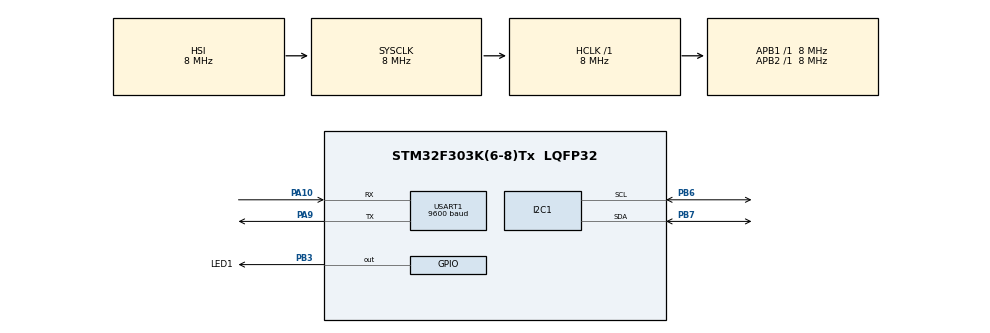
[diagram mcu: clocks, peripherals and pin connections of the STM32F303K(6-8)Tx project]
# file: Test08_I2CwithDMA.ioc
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Dma.I2C1_RX.1.Direction=DMA_PERIPH_TO_MEMORY
Dma.I2C1_RX.1.Instance=DMA1_Channel3
Dma.I2C1_RX.1.MemDataAlignment=DMA_MDATAALIGN_BYTE
Dma.I2C1_RX.1.MemInc=DMA_MINC_ENABLE
Dma.I2C1_RX.1.Mode=DMA_CIRCULAR
Dma.I2C1_RX.1.PeriphDataAlignment=DMA_PDATAALIGN_BYTE
Dma.I2C1_RX.1.PeriphInc=DMA_PINC_DISABLE
Dma.I2C1_RX.1.Priority=DMA_PRIORITY_LOW
Dma.Request0=USART1_RX
Dma.Request1=I2C1_RX
Dma.Request2=USART1_TX
Dma.USART1_RX.0.Direction=DMA_PERIPH_TO_MEMORY
Dma.USART1_RX.0.Instance=DMA1_Channel5
Dma.USART1_RX.0.MemDataAlignment=DMA_MDATAALIGN_BYTE
Dma.USART1_RX.0.MemInc=DMA_MINC_ENABLE
Dma.USART1_RX.0.Mode=DMA_NORMAL
Dma.USART1_RX.0.PeriphDataAlignment=DMA_PDATAALIGN_BYTE
Dma.USART1_RX.0.PeriphInc=DMA_PINC_DISABLE
Dma.USART1_RX.0.Priority=DMA_PRIORITY_LOW
Dma.USART1_TX.2.Direction=DMA_MEMORY_TO_PERIPH
Dma.USART1_TX.2.Instance=DMA1_Channel4
Dma.USART1_TX.2.MemDataAlignment=DMA_MDATAALIGN_BYTE
Dma.USART1_TX.2.MemInc=DMA_MINC_ENABLE
Dma.USART1_TX.2.Mode=DMA_CIRCULAR
Dma.USART1_TX.2.PeriphDataAlignment=DMA_PDATAALIGN_BYTE
Dma.USART1_TX.2.PeriphInc=DMA_PINC_DISABLE
Dma.USART1_TX.2.Priority=DMA_PRIORITY_LOW
I2C1.Timing=0x2000090E
Mcu.Family=STM32F3
Mcu.Name=STM32F303K(6-8)Tx
Mcu.Package=LQFP32
NVIC.DMA1_Channel3_IRQn=true\:0\:0\:false\:false\:true
NVIC.DMA1_Channel4_IRQn=true\:0\:0\:false\:true\:true\:2
NVIC.DMA1_Channel5_IRQn=true\:0\:0\:false\:true\:true\:1
NVIC.I2C1_ER_IRQn=true\:0\:0\:false\:true\:true\:4
NVIC.I2C1_EV_IRQn=true\:0\:0\:false\:true\:true\:3
NVIC.PriorityGroup=NVIC_PRIORITYGROUP_4
PA10.Mode=Asynchronous
PA10.Signal=USART1_RX
PA9.Mode=Asynchronous
PA9.Signal=USART1_TX
PB3.GPIO_Label=LED1
PB3.Signal=GPIO_Output
PB6.Mode=I2C
PB6.Signal=I2C1_SCL
PB7.Mode=I2C
PB7.Signal=I2C1_SDA
ProjectManager.HeapSize=0x200
ProjectManager.StackSize=0x400
ProjectManager.TargetToolchain=SW4STM32
RCC.AHBFreq_Value=8000000
RCC.APB1Freq_Value=8000000
RCC.APB2Freq_Value=8000000
RCC.CortexFreq_Value=8000000
RCC.HSE_VALUE=8000000
RCC.HSI_VALUE=8000000
RCC.SYSCLKFreq_VALUE=8000000
USART1.BaudRate=9600
USART1.WordLength=UART_WORDLENGTH_8B
board=Test08_I2CwithDMA

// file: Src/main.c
/**
  ******************************************************************************
  * File Name          : main.c
  * Description        : Main program body
  ******************************************************************************
  *
  * COPYRIGHT(c) 2017 STMicroelectronics
  *
  * Redistribution and use in source and binary forms, with or without modification,
  * are permitted provided that the following conditions are met:
  *   1. Redistributions of source code must retain the above copyright notice,
  *      this list of conditions and the following disclaimer.
  *   2. Redistributions in binary form must reproduce the above copyright notice,
  *      this list of conditions and the following disclaimer in the documentation
  *      and/or other materials provided with the distribution.
  *   3. Neither the name of STMicroelectronics nor the names of its contributors
  *      may be used to endorse or promote products derived from this software
  *      without specific prior written permission.
  *
  * THIS SOFTWARE IS PROVIDED BY THE COPYRIGHT HOLDERS AND CONTRIBUTORS "AS IS"
  * AND ANY EXPRESS OR IMPLIED WARRANTIES, INCLUDING, BUT NOT LIMITED TO, THE
  * IMPLIED WARRANTIES OF MERCHANTABILITY AND FITNESS FOR A PARTICULAR PURPOSE ARE
  * DISCLAIMED. IN NO EVENT SHALL THE COPYRIGHT HOLDER OR CONTRIBUTORS BE LIABLE
  * FOR ANY DIRECT, INDIRECT, INCIDENTAL, SPECIAL, EXEMPLARY, OR CONSEQUENTIAL
  * DAMAGES (INCLUDING, BUT NOT LIMITED TO, PROCUREMENT OF SUBSTITUTE GOODS OR
  * SERVICES; LOSS OF USE, DATA, OR PROFITS; OR BUSINESS INTERRUPTION) HOWEVER
  * CAUSED AND ON ANY THEORY OF LIABILITY, WHETHER IN CONTRACT, STRICT LIABILITY,
  * OR TORT (INCLUDING NEGLIGENCE OR OTHERWISE) ARISING IN ANY WAY OUT OF THE USE
  * OF THIS SOFTWARE, EVEN IF ADVISED OF THE POSSIBILITY OF SUCH DAMAGE.
  *
  ******************************************************************************
  */
#include "main.h"
#include "stm32f3xx_hal.h"

I2C_HandleTypeDef hi2c1;
DMA_HandleTypeDef hdma_i2c1_rx;

UART_HandleTypeDef huart1;
DMA_HandleTypeDef hdma_usart1_rx;
DMA_HandleTypeDef hdma_usart1_tx;

/* USER CODE BEGIN PV */
/* Private variables ---------------------------------------------------------*/
enum{TX_SIZE=1024};
uint8_t data[TX_SIZE];
uint8_t Uartready = 0;
uint8_t I2cready = 0;
/* USER CODE END PV */

void SystemClock_Config(void);
void Error_Handler(void);
static void MX_GPIO_Init(void);
static void MX_DMA_Init(void);
static void MX_I2C1_Init(void);
static void MX_USART1_UART_Init(void);
static void MX_NVIC_Init(void);

/* USER CODE BEGIN PFP */
/* Private function prototypes -----------------------------------------------*/

/* USER CODE END PFP */

int main(void)
{

  /* USER CODE BEGIN 1 */
	//data value
	uint8_t counter=0;
	uint8_t newline[]="\n";
	uint8_t read[]={0x00,0x00,0x00};
	uint8_t tmp[]={0,0};
	float accel[]={0,0,0};
	uint8_t RESET = 0x00;
	uint8_t config_sensor = 0x12;
	uint8_t enable_acc = 0x08;
	//REGISTER
	uint8_t FIFO_EN			 = 0x23;
	uint8_t CONFIG			 = 0x1A;
	uint8_t ACCEL_XOUT_H = 0x43;//ACCX
	uint8_t ACCEL_XOUT_L = 0x44;//ACCX
	uint8_t ACCEL_YOUT_H = 0x45;//ACCY
	uint8_t ACCEL_YOUT_L = 0x46;//ACCY
	uint8_t ACCEL_ZOUT_H = 0x47;//ACCZ
	uint8_t ACCEL_ZOUT_L = 0x48;//ACCZ
	uint8_t PWR_MGMT_1   = 0x6B;//PWR_MGMT_1
	uint8_t WHO_AM_I	   = 0x75;//WHO_AM_I
	uint8_t SMPLRT_DIV[2]  = {0x19,0x07};
	uint8_t GYRO_CONFIG[2] = {0x1B,0x00};
	uint8_t ACCE_CONFIG[2] = {0x1C,0x00};
  /* USER CODE END 1 */

  /* MCU Configuration----------------------------------------------------------*/

  /* Reset of all peripherals, Initializes the Flash interface and the Systick. */
  HAL_Init();

  /* Configure the system clock */
  SystemClock_Config();

  /* Initialize all configured peripherals */
  MX_GPIO_Init();
  MX_DMA_Init();
  MX_I2C1_Init();
  MX_USART1_UART_Init();

  /* Initialize interrupts */
  MX_NVIC_Init();

  /* USER CODE BEGIN 2 */
  if(HAL_UART_Transmit_DMA(&huart1, (uint8_t*)data, sizeof(data))!=HAL_OK){
		Error_Handler();
	}
	while (Uartready != 1)
	{
	}
	Uartready=0;
  /* USER CODE END 2 */

	/*who_am_i*/
	HAL_I2C_Mem_Read(&hi2c1,0xD0,0x75,I2C_MEMADD_SIZE_8BIT,&read[0],1,10);

	//wakeup sensor
	HAL_I2C_Mem_Write(&hi2c1,0xD0,PWR_MGMT_1,I2C_MEMADD_SIZE_8BIT,&RESET,1,10);
	HAL_I2C_Mem_Read(&hi2c1,0xD0,PWR_MGMT_1,I2C_MEMADD_SIZE_8BIT,&read[1],1,10);
	if(read == RESET)Error_Handler();
	//configure sensor
	HAL_I2C_Mem_Write(&hi2c1,0xD0,CONFIG,I2C_MEMADD_SIZE_8BIT,&config_sensor,1,10);
	HAL_I2C_Mem_Read(&hi2c1,0xD0,CONFIG,I2C_MEMADD_SIZE_8BIT,&read[2],1,10);
	if(read == config_sensor)Error_Handler();
	HAL_I2C_Mem_Write(&hi2c1,0xD0,FIFO_EN,I2C_MEMADD_SIZE_8BIT,&enable_acc,1,10);
	HAL_I2C_Mem_Read(&hi2c1,0xD0,FIFO_EN,I2C_MEMADD_SIZE_8BIT,&read[2],1,10);
	if(read == config_sensor)Error_Handler();
	HAL_I2C_Mem_Write(&hi2c1,0xD0,SMPLRT_DIV[0],I2C_MEMADD_SIZE_8BIT,&SMPLRT_DIV[1],1,10);
	HAL_I2C_Mem_Read(&hi2c1,0xD0,SMPLRT_DIV[0],I2C_MEMADD_SIZE_8BIT,&read[2],1,10);
	if(read == config_sensor)Error_Handler();
  /* Infinite loop */
  while (1)
  {

  /* USER CODE BEGIN 3 */
		/*accel x*/
		HAL_I2C_Mem_Read(&hi2c1,0xD0,0x43,I2C_MEMADD_SIZE_8BIT,&tmp[0],1,10);//high dat
		HAL_I2C_Mem_Read(&hi2c1,0xD0,0x44,I2C_MEMADD_SIZE_8BIT,&tmp[1],1,10);//low dat

		accel[0] = tmp[0]<<8 + tmp[1];

		/*DMA Transfer Update*/
		sprintf(data," mpu6050 [whoami:0x%2x][pwrmgmt:0x%2x][config:0x%2x][accel x:%f] \n" ,read[0],read[1],read[2],accel[0]);
  }
  /* USER CODE END 3 */

}

/** System Clock Configuration
*/
void SystemClock_Config(void)
{

  RCC_OscInitTypeDef RCC_OscInitStruct;
  RCC_ClkInitTypeDef RCC_ClkInitStruct;
  RCC_PeriphCLKInitTypeDef PeriphClkInit;

    /**Initializes the CPU, AHB and APB busses clocks
    */
  RCC_OscInitStruct.OscillatorType = RCC_OSCILLATORTYPE_HSI;
  RCC_OscInitStruct.HSIState = RCC_HSI_ON;
  RCC_OscInitStruct.HSICalibrationValue = 16;
  RCC_OscInitStruct.PLL.PLLState = RCC_PLL_NONE;
  if (HAL_RCC_OscConfig(&RCC_OscInitStruct) != HAL_OK)
  {
    Error_Handler();
  }

    /**Initializes the CPU, AHB and APB busses clocks
    */
  RCC_ClkInitStruct.ClockType = RCC_CLOCKTYPE_HCLK|RCC_CLOCKTYPE_SYSCLK
                              |RCC_CLOCKTYPE_PCLK1|RCC_CLOCKTYPE_PCLK2;
  RCC_ClkInitStruct.SYSCLKSource = RCC_SYSCLKSOURCE_HSI;
  RCC_ClkInitStruct.AHBCLKDivider = RCC_SYSCLK_DIV1;
  RCC_ClkInitStruct.APB1CLKDivider = RCC_HCLK_DIV1;
  RCC_ClkInitStruct.APB2CLKDivider = RCC_HCLK_DIV1;

  if (HAL_RCC_ClockConfig(&RCC_ClkInitStruct, FLASH_LATENCY_0) != HAL_OK)
  {
    Error_Handler();
  }

  PeriphClkInit.PeriphClockSelection = RCC_PERIPHCLK_USART1|RCC_PERIPHCLK_I2C1;
  PeriphClkInit.Usart1ClockSelection = RCC_USART1CLKSOURCE_PCLK1;
  PeriphClkInit.I2c1ClockSelection = RCC_I2C1CLKSOURCE_HSI;
  if (HAL_RCCEx_PeriphCLKConfig(&PeriphClkInit) != HAL_OK)
  {
    Error_Handler();
  }

    /**Configure the Systick interrupt time
    */
  HAL_SYSTICK_Config(HAL_RCC_GetHCLKFreq()/1000);

    /**Configure the Systick
    */
  HAL_SYSTICK_CLKSourceConfig(SYSTICK_CLKSOURCE_HCLK);

  /* SysTick_IRQn interrupt configuration */
  HAL_NVIC_SetPriority(SysTick_IRQn, 0, 0);
}

/** NVIC Configuration
*/
static void MX_NVIC_Init(void)
{
  /* DMA1_Channel5_IRQn interrupt configuration */
  HAL_NVIC_SetPriority(DMA1_Channel5_IRQn, 0, 0);
  HAL_NVIC_EnableIRQ(DMA1_Channel5_IRQn);
  /* DMA1_Channel4_IRQn interrupt configuration */
  HAL_NVIC_SetPriority(DMA1_Channel4_IRQn, 0, 0);
  HAL_NVIC_EnableIRQ(DMA1_Channel4_IRQn);
  /* I2C1_EV_IRQn interrupt configuration */
  HAL_NVIC_SetPriority(I2C1_EV_IRQn, 0, 0);
  HAL_NVIC_EnableIRQ(I2C1_EV_IRQn);
  /* I2C1_ER_IRQn interrupt configuration */
  HAL_NVIC_SetPriority(I2C1_ER_IRQn, 0, 0);
  HAL_NVIC_EnableIRQ(I2C1_ER_IRQn);
}

/* I2C1 init function */
static void MX_I2C1_Init(void)
{

  hi2c1.Instance = I2C1;
  hi2c1.Init.Timing = 0x2000090E;
  hi2c1.Init.OwnAddress1 = 0;
  hi2c1.Init.AddressingMode = I2C_ADDRESSINGMODE_7BIT;
  hi2c1.Init.DualAddressMode = I2C_DUALADDRESS_DISABLE;
  hi2c1.Init.OwnAddress2 = 0;
  hi2c1.Init.OwnAddress2Masks = I2C_OA2_NOMASK;
  hi2c1.Init.GeneralCallMode = I2C_GENERALCALL_DISABLE;
  hi2c1.Init.NoStretchMode = I2C_NOSTRETCH_DISABLE;
  if (HAL_I2C_Init(&hi2c1) != HAL_OK)
  {
    Error_Handler();
  }

    /**Configure Analogue filter
    */
  if (HAL_I2CEx_ConfigAnalogFilter(&hi2c1, I2C_ANALOGFILTER_ENABLE) != HAL_OK)
  {
    Error_Handler();
  }

}

/* USART1 init function */
static void MX_USART1_UART_Init(void)
{

  huart1.Instance = USART1;
  huart1.Init.BaudRate = 9600;
  huart1.Init.WordLength = UART_WORDLENGTH_8B;
  huart1.Init.StopBits = UART_STOPBITS_1;
  huart1.Init.Parity = UART_PARITY_NONE;
  huart1.Init.Mode = UART_MODE_TX_RX;
  huart1.Init.HwFlowCtl = UART_HWCONTROL_NONE;
  huart1.Init.OverSampling = UART_OVERSAMPLING_16;
  huart1.Init.OneBitSampling = UART_ONE_BIT_SAMPLE_DISABLE;
  huart1.AdvancedInit.AdvFeatureInit = UART_ADVFEATURE_NO_INIT;
  if (HAL_UART_Init(&huart1) != HAL_OK)
  {
    Error_Handler();
  }

}

static void MX_DMA_Init(void)
{
  /* DMA controller clock enable */
  __HAL_RCC_DMA1_CLK_ENABLE();

  /* DMA interrupt init */
  /* DMA1_Channel3_IRQn interrupt configuration */
  HAL_NVIC_SetPriority(DMA1_Channel3_IRQn, 0, 0);
  HAL_NVIC_EnableIRQ(DMA1_Channel3_IRQn);

}

/** Configure pins as
        * Analog
        * Input
        * Output
        * EVENT_OUT
        * EXTI
*/
static void MX_GPIO_Init(void)
{

  GPIO_InitTypeDef GPIO_InitStruct;

  /* GPIO Ports Clock Enable */
  __HAL_RCC_GPIOA_CLK_ENABLE();
  __HAL_RCC_GPIOB_CLK_ENABLE();

  /*Configure GPIO pin Output Level */
  HAL_GPIO_WritePin(LED1_GPIO_Port, LED1_Pin, GPIO_PIN_RESET);

  /*Configure GPIO pin : LED1_Pin */
  GPIO_InitStruct.Pin = LED1_Pin;
  GPIO_InitStruct.Mode = GPIO_MODE_OUTPUT_PP;
  GPIO_InitStruct.Pull = GPIO_NOPULL;
  GPIO_InitStruct.Speed = GPIO_SPEED_FREQ_LOW;
  HAL_GPIO_Init(LED1_GPIO_Port, &GPIO_InitStruct);

}

/* USER CODE BEGIN 4 */
void HAL_UART_TxCpltCallback(UART_HandleTypeDef *UartHandle){
	Uartready = 1;
}
void put_c(uint8_t *data){
}
void HAL_UART_ErrorCallback(UART_HandleTypeDef *UartHandle)
{
    Error_Handler();
}
void HAL_I2C_MasterRxCpltCallback(I2C_HandleTypeDef *I2cHandle)
{
	I2cready=1;
}
void HAL_I2C_MasterTxCpltCallback(I2C_HandleTypeDef *I2cHandle)
{
	I2cready=1;
}
/* USER CODE END 4 */

void Error_Handler(void)
{
  /* USER CODE BEGIN Error_Handler */
  /* User can add his own implementation to report the HAL error return state */
  while(1)
  {
		HAL_GPIO_TogglePin(LED1_GPIO_Port,LED1_Pin);
		HAL_Delay(50);
  }
  /* USER CODE END Error_Handler */
}

/************************ (C) COPYRIGHT STMicroelectronics *****END OF FILE****/
